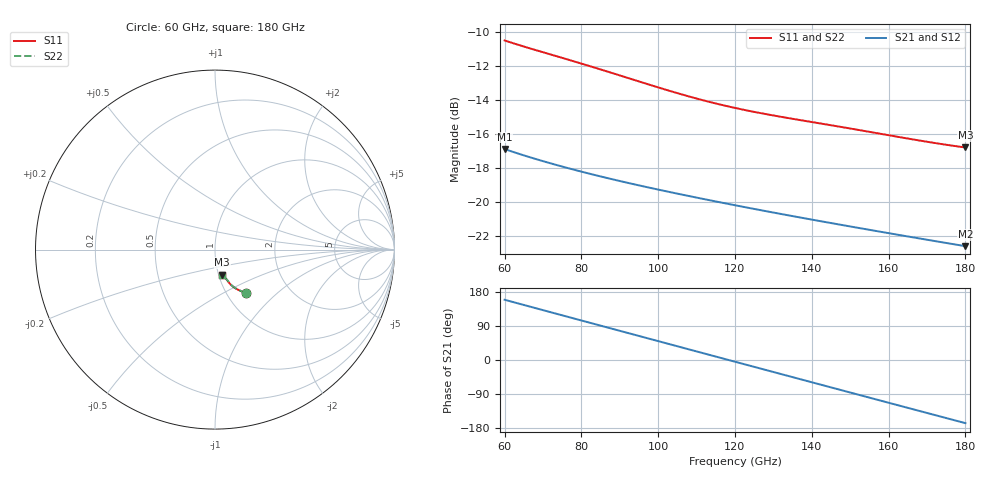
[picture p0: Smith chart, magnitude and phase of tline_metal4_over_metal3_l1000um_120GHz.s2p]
#  GHZ S DB R 50
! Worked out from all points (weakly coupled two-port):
!   101 points, 60 GHz to 180 GHz, reference 50 ohm
!   highest |S21| = -16.91 dB at 60 GHz (marker M1); lowest = -22.6 dB at 180 GHz (marker M2)
!   lowest |S11| = -16.8 dB at 180 GHz (marker M3), VSWR 1.34, Z = 52 - j14.7 ohm
!   |S11| at or under -10 dB: start of sweep to end of sweep
!   |S22| runs from -16.8 to -10.5 dB; largest |S21 - S12| = 1.1e-13
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60  -10.51 -54.9  -16.91 159.0  -16.91 159.0  -10.52 -54.8
66  -10.94 -56.5  -17.34 142.5  -17.34 142.5  -10.94 -56.4
70.8  -11.26 -57.8  -17.67 129.4  -17.67 129.4  -11.27 -57.7
75.6  -11.58 -59.3  -17.97 116.3  -17.97 116.3  -11.59 -59.1
80.4  -11.90 -60.7  -18.26 103.2  -18.26 103.2  -11.91 -60.6
85.2  -12.23 -62.1  -18.53 90.1  -18.53 90.1  -12.24 -61.9
90  -12.57 -63.4  -18.78 77.0  -18.78 77.0  -12.58 -63.2
94.8  -12.91 -64.5  -19.03 64.0  -19.03 64.0  -12.93 -64.3
100.8  -13.33 -65.7  -19.33 47.6  -19.33 47.6  -13.35 -65.4
105.6  -13.65 -66.4  -19.56 34.6  -19.56 34.6  -13.67 -66.1
110.4  -13.96 -67.0  -19.78 21.5  -19.78 21.5  -13.97 -66.7
115.2  -14.23 -67.5  -20.00 8.5  -20.00 8.5  -14.24 -67.2
120  -14.48 -67.9  -20.21 -4.5  -20.21 -4.5  -14.49 -67.6
129.6  -14.91 -68.8  -20.62 -30.6  -20.62 -30.6  -14.91 -68.4
135.6  -15.15 -69.5  -20.87 -46.8  -20.87 -46.8  -15.15 -69.0
140.4  -15.33 -70.1  -21.07 -59.8  -21.07 -59.8  -15.32 -69.6
145.2  -15.51 -70.7  -21.27 -72.8  -21.27 -72.8  -15.50 -70.3
150  -15.69 -71.4  -21.46 -85.8  -21.46 -85.8  -15.69 -70.9
154.8  -15.88 -72.0  -21.65 -98.8  -21.65 -98.8  -15.87 -71.6
160.8  -16.12 -72.7  -21.88 -115.0  -21.88 -115.0  -16.11 -72.3
170.4  -16.49 -73.6  -22.25 -140.8  -22.25 -140.8  -16.47 -73.2
180  -16.81 -74.2  -22.62 -166.6  -22.62 -166.6  -16.80 -73.9
